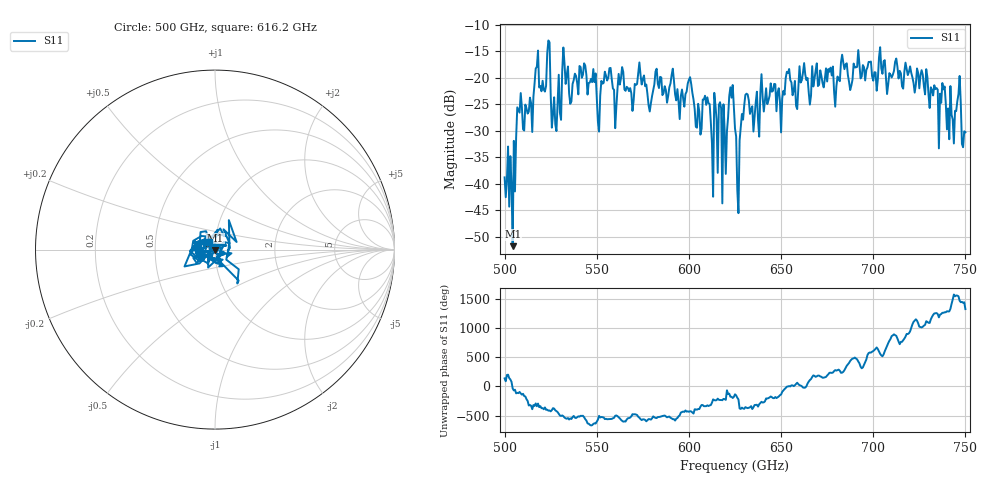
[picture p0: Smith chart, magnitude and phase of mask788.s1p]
!Created with skrf (http://scikit-rf.org).
# GHz S MA R 50.0
!freq magS11 angS11
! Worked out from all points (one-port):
!   401 points, 500 GHz to 750 GHz, reference 50 ohm
!   lowest |S11| = -51.8 dB at 504.4 GHz (marker M1), VSWR 1.01, Z = 50.2 - j0.152 ohm
!   |S11| at or under -10 dB: start of sweep to end of sweep
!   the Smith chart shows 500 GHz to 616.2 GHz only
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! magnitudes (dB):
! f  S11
! 500 GHz  -38.8
! 504.4 GHz  -51.8
! 508.1 GHz  -26.6
! 513.8 GHz  -23.7
! 516.9 GHz  -18.2
! 521.2 GHz  -22.2
! 523.1 GHz  -15.3
! 526.9 GHz  -23.7
! 531.2 GHz  -18.7
! 542.5 GHz  -19.4
! 551.2 GHz  -30.1
! 562.5 GHz  -21.3
! 593.8 GHz  -22.1
! 600.6 GHz  -19.9
! 605 GHz  -24.9
! 610 GHz  -23.7
! 611.9 GHz  -28.3
! 619.4 GHz  -29.8
! 623.1 GHz  -23.7
! 625 GHz  -29.6
! 626.9 GHz  -45.6
! 631.2 GHz  -23.0
! 656.2 GHz  -23.3
! 687.5 GHz  -22.3
! 718.8 GHz  -19.5
! 742.5 GHz  -27.0
! 746.2 GHz  -23.0
! 750 GHz  -30.3
